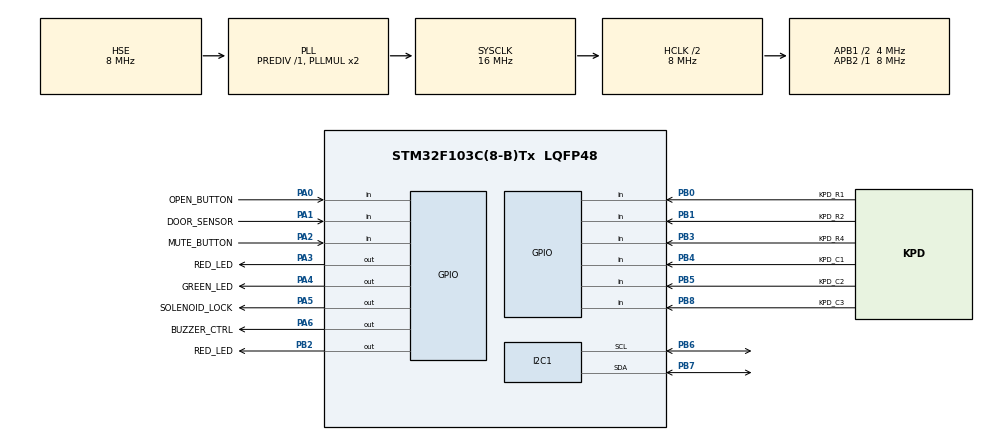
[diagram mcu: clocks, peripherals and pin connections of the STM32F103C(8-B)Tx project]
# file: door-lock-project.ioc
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I2C1.I2C_Mode=I2C_Standard
Mcu.Family=STM32F1
Mcu.Name=STM32F103C(8-B)Tx
Mcu.Package=LQFP48
NVIC.PriorityGroup=NVIC_PRIORITYGROUP_4
NVIC.TIM2_IRQn=true\:0\:0\:false\:false\:true\:true\:true
PA0-WKUP.GPIO_Label=OPEN_BUTTON
PA0-WKUP.Signal=GPIO_Input
PA1.GPIO_Label=DOOR_SENSOR
PA1.Signal=GPIO_Input
PA13.Mode=Serial_Wire
PA13.Signal=SYS_JTMS-SWDIO
PA14.Mode=Serial_Wire
PA14.Signal=SYS_JTCK-SWCLK
PA2.GPIO_Label=MUTE_BUTTON
PA2.Signal=GPIO_Input
PA3.GPIO_Label=RED_LED
PA3.Signal=GPIO_Output
PA4.GPIO_Label=GREEN_LED
PA4.Signal=GPIO_Output
PA5.GPIO_Label=SOLENOID_LOCK
PA5.Signal=GPIO_Output
PA6.GPIO_Label=BUZZER_CTRL
PA6.Signal=GPIO_Output
PB0.GPIO_Label=KPD_R1
PB0.Signal=GPIO_Input
PB1.GPIO_Label=KPD_R2
PB1.Signal=GPIO_Input
PB2.GPIO_Label=RED_LED
PB2.Signal=GPIO_Output
PB3.GPIO_Label=KPD_R4
PB3.Signal=GPIO_Input
PB4.GPIO_Label=KPD_C1
PB4.Signal=GPIO_Input
PB5.GPIO_Label=KPD_C2
PB5.GPIO_ModeDefaultPullUp=GPIO_PULLUP
PB5.Signal=GPIO_Input
PB6.Mode=I2C
PB6.Signal=I2C1_SCL
PB7.Mode=I2C
PB7.Signal=I2C1_SDA
PB8.GPIO_Label=KPD_C3
PB8.GPIO_ModeDefaultPullUp=GPIO_PULLUP
PB8.Signal=GPIO_Input
PD0-OSC_IN.Mode=HSE-External-Oscillator
PD0-OSC_IN.Signal=RCC_OSC_IN
PD1-OSC_OUT.Mode=HSE-External-Oscillator
PD1-OSC_OUT.Signal=RCC_OSC_OUT
ProjectManager.HeapSize=0x200
ProjectManager.StackSize=0x400
ProjectManager.TargetToolchain=STM32CubeIDE
RCC.AHBCLKDivider=RCC_SYSCLK_DIV2
RCC.AHBFreq_Value=8000000
RCC.APB1CLKDivider=RCC_HCLK_DIV2
RCC.APB1Freq_Value=4000000
RCC.APB1TimFreq_Value=8000000
RCC.APB2Freq_Value=8000000
RCC.APB2TimFreq_Value=8000000
RCC.HCLKFreq_Value=8000000
RCC.PLLSourceVirtual=RCC_PLLSOURCE_HSE
RCC.SYSCLKFreq_VALUE=16000000
RCC.SYSCLKSource=RCC_SYSCLKSOURCE_PLLCLK
RCC.USBFreq_Value=16000000
TIM2.Period=9
TIM2.Prescaler=7999
VP_TIM2_VS_ClockSourceINT.Mode=Internal
board=custom

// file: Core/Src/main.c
/* USER CODE BEGIN Header */
/**
 ******************************************************************************
 * @file           : main.c
 * @brief          : Main program body
 ******************************************************************************
 * @attention
 *
 * <h2><center>&copy; Copyright (c) 2025 STMicroelectronics.
 * All rights reserved.</center></h2>
 *
 * This software component is licensed by ST under BSD 3-Clause license,
 * the "License"; You may not use this file except in compliance with the
 * License. You may obtain a copy of the License at:
 *                        opensource.org/licenses/BSD-3-Clause
 *
 ******************************************************************************
 */
/* USER CODE END Header */
#include "main.h"

/* USER CODE BEGIN Includes */
#include "global.h"
#include "liquidcrystal_i2c.h"
/* USER CODE END Includes */

I2C_HandleTypeDef hi2c1;

TIM_HandleTypeDef htim2;

/* USER CODE BEGIN PV */
#define DEV_ADDR_7BIT 0x27 // 0x3F
/* USER CODE END PV */

void SystemClock_Config(void);
static void MX_GPIO_Init(void);
static void MX_I2C1_Init(void);
static void MX_TIM2_Init(void);

/* USER CODE BEGIN 0 */
#define LED_ON() HAL_GPIO_WritePin(GPIOB, RED_LEDB2_Pin, GPIO_PIN_SET)
#define LED_OFF() HAL_GPIO_WritePin(GPIOB, RED_LEDB2_Pin, GPIO_PIN_RESET)
/* USER CODE END 0 */

int main(void)
{

  /* MCU Configuration--------------------------------------------------------*/

  /* Reset of all peripherals, Initializes the Flash interface and the Systick. */
  HAL_Init();

  /* Configure the system clock */
  SystemClock_Config();

  /* Initialize all configured peripherals */
  MX_GPIO_Init();
  MX_I2C1_Init();
  MX_TIM2_Init();
  /* USER CODE BEGIN 2 */
  LED_OFF();
  //Nomral static Printing
      HD44780_Init(2);
      HD44780_Clear();
      HD44780_Backlight();
      HD44780_SetCursor(0,0);
      HD44780_PrintStr("Welcome To");
      HD44780_SetCursor(0,1);
      HD44780_PrintStr("CircuitGator HQ");
  /* USER CODE END 2 */

  /* Infinite loop */
  /* USER CODE BEGIN WHILE */
	while (1) {
//		getKeyInput();
//		password_fsm_run();
//		door_fsm_run();
//		Buzzer_Run();
		HAL_StatusTypeDef ok = HAL_I2C_IsDeviceReady(&hi2c1, (DEV_ADDR_7BIT << 1), 2, 100);
		if (ok == HAL_OK){
			LED_ON();
		} else {
			LED_OFF();
		}
		HAL_Delay(300);
    /* USER CODE END WHILE */

	}
}

void SystemClock_Config(void)
{
  RCC_OscInitTypeDef RCC_OscInitStruct = {0};
  RCC_ClkInitTypeDef RCC_ClkInitStruct = {0};

  /** Initializes the RCC Oscillators according to the specified parameters
  * in the RCC_OscInitTypeDef structure.
  */
  RCC_OscInitStruct.OscillatorType = RCC_OSCILLATORTYPE_HSE;
  RCC_OscInitStruct.HSEState = RCC_HSE_ON;
  RCC_OscInitStruct.HSEPredivValue = RCC_HSE_PREDIV_DIV1;
  RCC_OscInitStruct.HSIState = RCC_HSI_ON;
  RCC_OscInitStruct.PLL.PLLState = RCC_PLL_ON;
  RCC_OscInitStruct.PLL.PLLSource = RCC_PLLSOURCE_HSE;
  RCC_OscInitStruct.PLL.PLLMUL = RCC_PLL_MUL2;
  if (HAL_RCC_OscConfig(&RCC_OscInitStruct) != HAL_OK)
  {
    Error_Handler();
  }
  /** Initializes the CPU, AHB and APB buses clocks
  */
  RCC_ClkInitStruct.ClockType = RCC_CLOCKTYPE_HCLK|RCC_CLOCKTYPE_SYSCLK
                              |RCC_CLOCKTYPE_PCLK1|RCC_CLOCKTYPE_PCLK2;
  RCC_ClkInitStruct.SYSCLKSource = RCC_SYSCLKSOURCE_PLLCLK;
  RCC_ClkInitStruct.AHBCLKDivider = RCC_SYSCLK_DIV2;
  RCC_ClkInitStruct.APB1CLKDivider = RCC_HCLK_DIV2;
  RCC_ClkInitStruct.APB2CLKDivider = RCC_HCLK_DIV1;

  if (HAL_RCC_ClockConfig(&RCC_ClkInitStruct, FLASH_LATENCY_0) != HAL_OK)
  {
    Error_Handler();
  }
}

static void MX_I2C1_Init(void)
{

  hi2c1.Instance = I2C1;
  hi2c1.Init.ClockSpeed = 100000;
  hi2c1.Init.DutyCycle = I2C_DUTYCYCLE_2;
  hi2c1.Init.OwnAddress1 = 0;
  hi2c1.Init.AddressingMode = I2C_ADDRESSINGMODE_7BIT;
  hi2c1.Init.DualAddressMode = I2C_DUALADDRESS_DISABLE;
  hi2c1.Init.OwnAddress2 = 0;
  hi2c1.Init.GeneralCallMode = I2C_GENERALCALL_DISABLE;
  hi2c1.Init.NoStretchMode = I2C_NOSTRETCH_DISABLE;
  if (HAL_I2C_Init(&hi2c1) != HAL_OK)
  {
    Error_Handler();
  }

}

static void MX_TIM2_Init(void)
{

  TIM_ClockConfigTypeDef sClockSourceConfig = {0};
  TIM_MasterConfigTypeDef sMasterConfig = {0};

  htim2.Instance = TIM2;
  htim2.Init.Prescaler = 7999;
  htim2.Init.CounterMode = TIM_COUNTERMODE_UP;
  htim2.Init.Period = 9;
  htim2.Init.ClockDivision = TIM_CLOCKDIVISION_DIV1;
  htim2.Init.AutoReloadPreload = TIM_AUTORELOAD_PRELOAD_DISABLE;
  if (HAL_TIM_Base_Init(&htim2) != HAL_OK)
  {
    Error_Handler();
  }
  sClockSourceConfig.ClockSource = TIM_CLOCKSOURCE_INTERNAL;
  if (HAL_TIM_ConfigClockSource(&htim2, &sClockSourceConfig) != HAL_OK)
  {
    Error_Handler();
  }
  sMasterConfig.MasterOutputTrigger = TIM_TRGO_RESET;
  sMasterConfig.MasterSlaveMode = TIM_MASTERSLAVEMODE_DISABLE;
  if (HAL_TIMEx_MasterConfigSynchronization(&htim2, &sMasterConfig) != HAL_OK)
  {
    Error_Handler();
  }

}

static void MX_GPIO_Init(void)
{
  GPIO_InitTypeDef GPIO_InitStruct = {0};

  /* GPIO Ports Clock Enable */
  __HAL_RCC_GPIOD_CLK_ENABLE();
  __HAL_RCC_GPIOA_CLK_ENABLE();
  __HAL_RCC_GPIOB_CLK_ENABLE();

  /*Configure GPIO pin Output Level */
  HAL_GPIO_WritePin(GPIOA, RED_LED_Pin|GREEN_LED_Pin|SOLENOID_LOCK_Pin|BUZZER_CTRL_Pin, GPIO_PIN_RESET);

  /*Configure GPIO pin Output Level */
  HAL_GPIO_WritePin(RED_LEDB2_GPIO_Port, RED_LEDB2_Pin, GPIO_PIN_RESET);

  /*Configure GPIO pins : OPEN_BUTTON_Pin DOOR_SENSOR_Pin MUTE_BUTTON_Pin */
  GPIO_InitStruct.Pin = OPEN_BUTTON_Pin|DOOR_SENSOR_Pin|MUTE_BUTTON_Pin;
  GPIO_InitStruct.Mode = GPIO_MODE_INPUT;
  GPIO_InitStruct.Pull = GPIO_NOPULL;
  HAL_GPIO_Init(GPIOA, &GPIO_InitStruct);

  /*Configure GPIO pins : RED_LED_Pin GREEN_LED_Pin SOLENOID_LOCK_Pin BUZZER_CTRL_Pin */
  GPIO_InitStruct.Pin = RED_LED_Pin|GREEN_LED_Pin|SOLENOID_LOCK_Pin|BUZZER_CTRL_Pin;
  GPIO_InitStruct.Mode = GPIO_MODE_OUTPUT_PP;
  GPIO_InitStruct.Pull = GPIO_NOPULL;
  GPIO_InitStruct.Speed = GPIO_SPEED_FREQ_LOW;
  HAL_GPIO_Init(GPIOA, &GPIO_InitStruct);

  /*Configure GPIO pins : KPD_R1_Pin KPD_R2_Pin KPD_R4_Pin KPD_C1_Pin
                           KPD_C2_Pin KPD_C3_Pin */
  GPIO_InitStruct.Pin = KPD_R1_Pin|KPD_R2_Pin|KPD_R4_Pin|KPD_C1_Pin
                          |KPD_C2_Pin|KPD_C3_Pin;
  GPIO_InitStruct.Mode = GPIO_MODE_INPUT;
  GPIO_InitStruct.Pull = GPIO_NOPULL;
  HAL_GPIO_Init(GPIOB, &GPIO_InitStruct);

  /*Configure GPIO pin : RED_LEDB2_Pin */
  GPIO_InitStruct.Pin = RED_LEDB2_Pin;
  GPIO_InitStruct.Mode = GPIO_MODE_OUTPUT_PP;
  GPIO_InitStruct.Pull = GPIO_NOPULL;
  GPIO_InitStruct.Speed = GPIO_SPEED_FREQ_LOW;
  HAL_GPIO_Init(RED_LEDB2_GPIO_Port, &GPIO_InitStruct);

}

/* USER CODE BEGIN 4 */
void HAL_TIM_PeriodElapsedCallback(TIM_HandleTypeDef *htim) {

	timerRun();

}
/* USER CODE END 4 */

void Error_Handler(void)
{
	__disable_irq();
	while (1) {
	}
}

/************************ (C) COPYRIGHT STMicroelectronics *****END OF FILE****/
